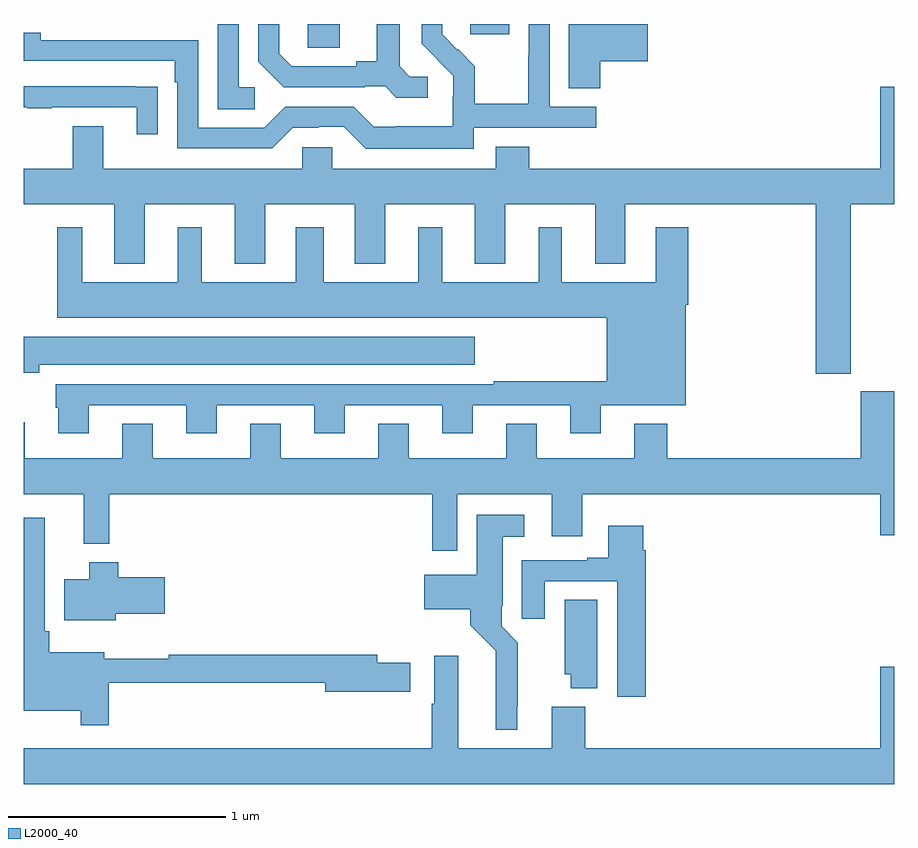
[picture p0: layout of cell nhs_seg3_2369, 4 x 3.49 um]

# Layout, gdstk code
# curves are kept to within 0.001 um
import gdstk
lib = gdstk.Library(unit=1e-6, precision=1e-09)
def R(c, l, rs):  # rectangles x0, y0, x1, y1
    for r in rs: c.add(gdstk.rectangle(r[:2], r[2:], *l))
def P(c, l, *ps):  # polygons
    for p in ps: c.add(gdstk.Polygon(p, *l))
L2000_40 = (2000, 40)

nhs_seg3_2369 = lib.new_cell('nhs_seg3_2369')
R(nhs_seg3_2369, L2000_40, [(234.306,712.291,234.451,712.4), (235.052,712.353,235.231,712.4)])
P(nhs_seg3_2369, L2000_40, [(235.649,712.229),(235.867,712.229),(235.867,712.4),(235.505,712.4),(235.505,712.105),(235.649,712.105)],
  [(234.856,712.158),(234.774,712.158),(234.727,712.205),(234.727,712.4),(234.623,712.4),(234.623,712.229),(234.527,712.229),(234.527,712.206),(234.232,712.206),(234.175,712.263),(234.175,712.4),(234.078,712.4),(234.078,712.226),(234.194,712.11),(234.566,712.11),(234.566,712.113),(234.66,712.113),(234.712,712.061),(234.856,712.061)],
  [(234.061,712.11),(233.988,712.11),(233.988,712.4),(233.892,712.4),(233.892,712.009),(234.061,712.009)],
  [(235.068,711.924),(235.63,711.924),(235.63,712.02),(235.416,712.02),(235.416,712.4),(235.32,712.4),(235.32,712.256),(235.318,712.256),(235.318,712.033),(235.073,712.033),(235.073,712.207),(234.996,712.284),(234.993,712.281),(234.923,712.352),(234.923,712.4),(234.828,712.4),(234.828,712.31),(234.974,712.162),(234.974,712.065),(234.972,712.065),(234.972,711.931),(234.709,711.931),(234.709,711.927),(234.609,711.927),(234.516,712.02),(234.201,712.02),(234.105,711.924),(233.802,711.924),(233.802,712.326),(233.078,712.326),(233.078,712.36),(233,712.36),(233,712.23),(233.693,712.23),(233.693,712.133),(233.706,712.133),(233.706,711.828),(234.141,711.828),(234.237,711.924),(234.356,711.924),(234.356,711.927),(234.471,711.927),(234.571,711.827),(235.068,711.827)],
  [(233.615,712.112),(233.513,712.112),(233.513,712.113),(233,712.113),(233,712.017),(233.017,712.017),(233.017,712.012),(233.129,712.012),(233.129,712.017),(233.519,712.017),(233.519,711.894),(233.615,711.894)],
  [(236.799,711.572),(237,711.572),(237,712.111),(236.936,712.111),(236.936,711.736),(235.322,711.736),(235.322,711.835),(235.169,711.835),(235.169,711.736),(234.417,711.736),(234.417,711.834),(234.279,711.834),(234.279,711.736),(233.365,711.736),(233.365,711.931),(233.225,711.931),(233.225,711.736),(233,711.736),(233,711.572),(233.417,711.572),(233.417,711.299),(233.557,711.299),(233.557,711.572),(233.969,711.572),(233.969,711.299),(234.109,711.299),(234.109,711.572),(234.521,711.572),(234.521,711.299),(234.661,711.299),(234.661,711.572),(235.073,711.572),(235.073,711.299),(235.213,711.299),(235.213,711.572),(235.625,711.572),(235.625,711.299),(235.765,711.299),(235.765,711.572),(236.639,711.572),(236.639,710.793),(236.799,710.793)],
  [(233.299,710.649),(233.747,710.649),(233.747,710.52),(233.887,710.52),(233.887,710.649),(234.335,710.649),(234.335,710.52),(234.475,710.52),(234.475,710.649),(234.923,710.649),(234.923,710.52),(235.063,710.52),(235.063,710.649),(235.511,710.649),(235.511,710.52),(235.651,710.52),(235.651,710.648),(236.041,710.648),(236.041,711.11),(236.054,711.11),(236.054,711.466),(235.904,711.466),(235.904,711.214),(235.471,711.214),(235.471,711.466),(235.367,711.466),(235.367,711.214),(234.922,711.214),(234.922,711.466),(234.812,711.466),(234.812,711.214),(234.379,711.214),(234.379,711.466),(234.251,711.466),(234.251,711.214),(233.818,711.214),(233.818,711.466),(233.708,711.466),(233.708,711.214),(233.269,711.214),(233.269,711.466),(233.153,711.466),(233.153,711.05),(235.679,711.05),(235.679,710.758),(235.159,710.758),(235.159,710.745),(233.147,710.745),(233.147,710.637),(233.159,710.637),(233.159,710.52),(233.299,710.52)],
  [(233.071,710.834),(235.072,710.834),(235.072,710.962),(233,710.962),(233,710.798),(233.071,710.798)],
  [(236.936,710.052),(237,710.052),(237,710.713),(236.846,710.713),(236.846,710.404),(235.958,710.404),(235.958,710.563),(235.805,710.563),(235.805,710.404),(235.357,710.404),(235.357,710.564),(235.217,710.564),(235.217,710.404),(234.769,710.404),(234.769,710.564),(234.629,710.564),(234.629,710.404),(234.181,710.404),(234.181,710.564),(234.041,710.564),(234.041,710.404),(233.593,710.404),(233.593,710.564),(233.453,710.564),(233.453,710.404),(233.005,710.404),(233.005,710.569),(233,710.569),(233,710.24),(233.276,710.24),(233.276,710.012),(233.393,710.012),(233.393,710.24),(234.877,710.24),(234.877,709.98),(234.993,709.98),(234.993,710.24),(235.427,710.24),(235.427,710.046),(235.567,710.046),(235.567,710.24),(236.936,710.24)],
  [(235.267,709.267),(235.271,709.267),(235.271,709.558),(235.197,709.632),(235.197,709.726),(235.201,709.726),(235.201,710.045),(235.3,710.045),(235.3,710.146),(235.082,710.146),(235.082,709.87),(234.84,709.87),(234.84,709.712),(235.052,709.712),(235.052,709.638),(235.17,709.52),(235.169,709.157),(235.267,709.157)],
  [(233.39,709.374),(234.386,709.374),(234.386,709.331),(234.775,709.331),(234.775,709.466),(234.625,709.466),(234.625,709.502),(233.667,709.502),(233.667,709.484),(233.371,709.484),(233.371,709.513),(233.117,709.513),(233.117,709.609),(233.097,709.609),(233.097,710.131),(233,710.131),(233,709.244),(233.262,709.244),(233.262,709.179),(233.39,709.179)],
  [(235.859,709.982),(235.846,709.982),(235.846,710.095),(235.685,710.095),(235.685,709.948),(235.589,709.948),(235.589,709.935),(235.289,709.935),(235.289,709.668),(235.393,709.668),(235.393,709.839),(235.727,709.839),(235.727,709.308),(235.859,709.308)],
  [(233.422,709.691),(233.647,709.691),(233.647,709.857),(233.435,709.857),(233.435,709.927),(233.3,709.927),(233.3,709.849),(233.186,709.849),(233.186,709.661),(233.422,709.661)],
  [(235.636,709.754),(235.487,709.754),(235.487,709.413),(235.514,709.413),(235.514,709.349),(235.636,709.349)],
  [(237,709.447),(236.936,709.447),(236.936,709.072),(235.58,709.072),(235.58,709.264),(235.427,709.264),(235.427,709.072),(234.997,709.072),(234.997,709.498),(234.887,709.498),(234.887,709.277),(234.875,709.277),(234.875,709.072),(233,709.072),(233,708.908),(237,708.908)])

lib.write_gds('nhs_seg3_2369.gds')
